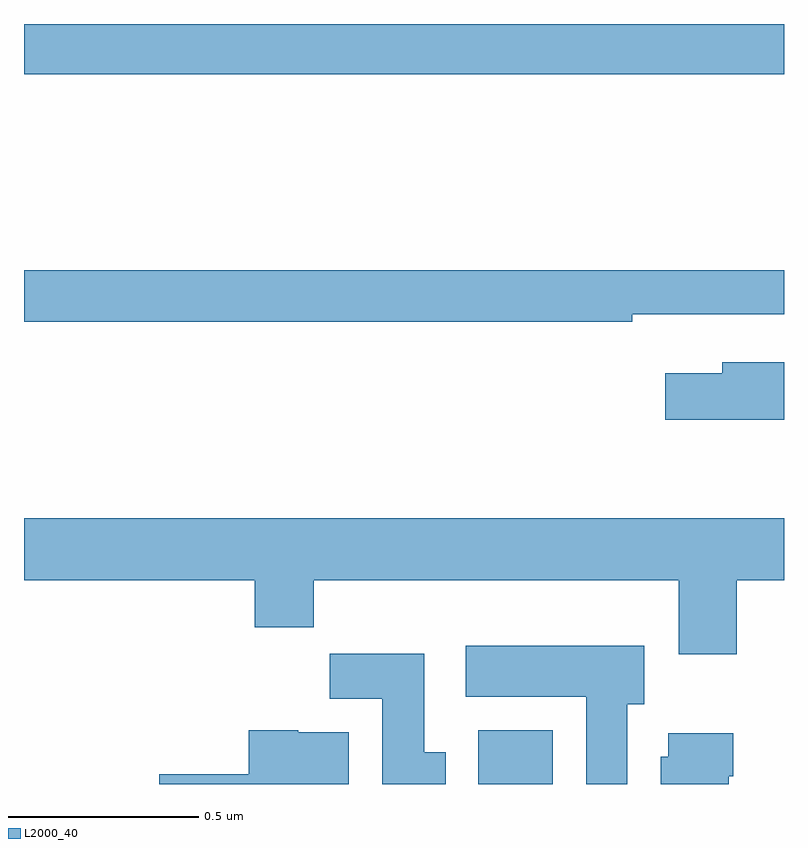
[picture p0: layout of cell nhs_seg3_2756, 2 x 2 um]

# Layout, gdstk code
import gdstk
lib = gdstk.Library(unit=1e-6, precision=1e-09)
def R(c, l, rs):  # rectangles x0, y0, x1, y1
    for r in rs: c.add(gdstk.rectangle(r[:2], r[2:], *l))
def P(c, l, *ps):  # polygons
    for p in ps: c.add(gdstk.Polygon(p, *l))
L2000_40 = (2000, 40)

nhs_seg3_2756 = lib.new_cell('nhs_seg3_2756')
R(nhs_seg3_2756, L2000_40, [(146.195,680.4,146.392,680.542), (145,682.268,147,682.4)])
P(nhs_seg3_2756, L2000_40, [(146.6,681.636),(147,681.636),(147,681.752),(145,681.752),(145,681.616),(146.6,681.616)],
  [(147,681.51),(146.837,681.51),(146.837,681.481),(146.688,681.481),(146.688,681.359),(147,681.359)],
  [(146.876,680.936),(147,680.936),(147,681.1),(145,681.1),(145,680.936),(145.607,680.936),(145.607,680.812),(145.763,680.812),(145.763,680.936),(146.723,680.936),(146.723,680.742),(146.876,680.742)],
  [(146.587,680.61),(146.632,680.61),(146.632,680.764),(146.163,680.764),(146.163,680.63),(146.48,680.63),(146.48,680.4),(146.587,680.4)],
  [(146.11,680.484),(146.053,680.484),(146.053,680.743),(145.804,680.743),(145.804,680.624),(145.943,680.624),(145.943,680.4),(146.11,680.4)],
  [(145.855,680.536),(145.722,680.536),(145.722,680.542),(145.592,680.542),(145.592,680.426),(145.356,680.426),(145.356,680.4),(145.855,680.4)],
  [(146.854,680.42),(146.867,680.42),(146.867,680.533),(146.696,680.533),(146.696,680.472),(146.675,680.472),(146.675,680.4),(146.854,680.4)])

lib.write_gds('nhs_seg3_2756.gds')
